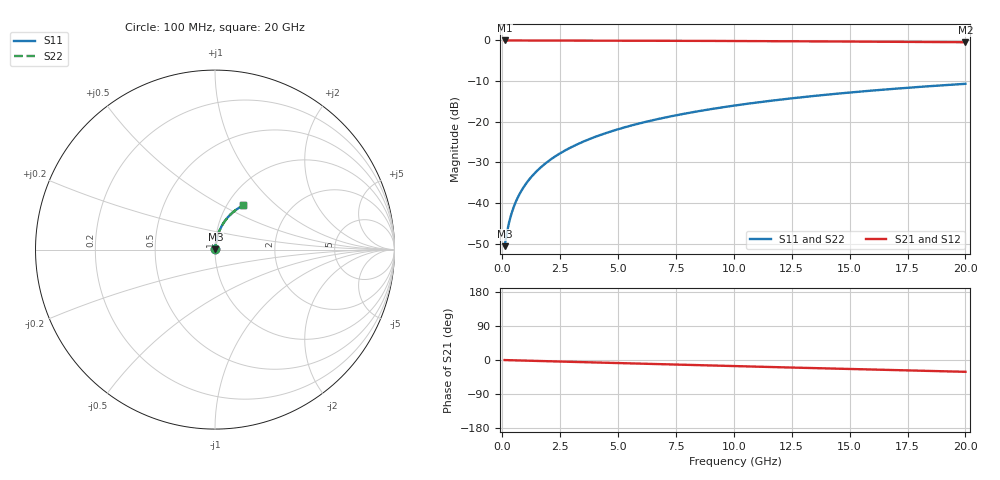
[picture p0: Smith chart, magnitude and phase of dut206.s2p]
! Touchstone file exported from HFSS 2026.1.0
!  File:  C:/ffzhzh/LocalFiles/Ansys_Project_Files/temp_train_BSMRDL_206_1782987802_41620.aedt
!  Generated:  06:24:42 PM Jul  2, 2026
!  Design:  BSMRDL
!  Project:  temp_train_BSMRDL_206_1782987802_41620
! Variables:
!  h_bsmrdl = 2.56um
!  h_ox = 20um
!  h_rdl = 5um
!  h_sub = 80um
!  h_tmrdl = 5um
!  h_tsv = 80um
!  h_via = 3um
!  l_bsmrdl = 419.9um
!  l_sub = 819.9um
!  l_tmrdl = 200um
!  m_sub = 200um
!  pitch = 57.57um
!  r_tsv = 6um
!  s_tmrdl = 10um
!  w_bsmrdl = 29.53um
!  w_sub = 500um
!  w_tmrdl = 12um
!  x_tsv_center1 = 206um
!  x_tsv_center2 = 655.43um
!  x_tsv_center3 = 867.43um
!  x_tsv_center4 = 1316.86um
!  x_tsv_center5 = 1528.86um
!  x_tsv_center6 = 1978.29um
# GHz S MA R 50.000000
! Terminal data exported
! Port[1] = BSM_RDL1_1_T1
! Port[2] = BSM_RDL1_1_T2
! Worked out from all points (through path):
!   200 points, 100 MHz to 20 GHz, reference 50 ohm
!   highest |S21| = -0.02 dB at 100 MHz (marker M1); lowest = -0.5 dB at 20 GHz (marker M2)
!   group delay of S21, straight-line fit = 4.33 ps
!   lowest |S11| = -50.6 dB at 100 MHz (marker M3), VSWR 1.01, Z = 50.2 + j0.182 ohm
!   |S11| at or under -10 dB: start of sweep to end of sweep
!   |S22| runs from -50.6 to -10.7 dB; largest |S21 - S12| = 2.7e-15
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0.1  0.002941 37.9  0.9977 -0.2  0.9977 -0.2  0.002941 37.9
! Gamma 0 0 0 0
! Port Impedance 50 0 50 0
0.2  0.004324 55.7  0.9976 -0.3  0.9976 -0.3  0.004324 55.7
0.3  0.005877 63.8  0.9974 -0.5  0.9974 -0.5  0.005877 63.8
0.4  0.007454 68.4  0.9973 -0.7  0.9973 -0.7  0.007454 68.4
0.5  0.009026 71.3  0.9972 -0.8  0.9972 -0.8  0.009026 71.3
0.6  0.01059 73.4  0.9971 -1.0  0.9971 -1.0  0.01059 73.4
0.8  0.01373 76.1  0.9969 -1.3  0.9969 -1.3  0.01373 76.1
1.1  0.01846 78.6  0.9968 -1.8  0.9968 -1.8  0.01846 78.6
1.3  0.02164 79.5  0.9966 -2.1  0.9966 -2.1  0.02164 79.5
1.6  0.02642 80.4  0.9965 -2.6  0.9965 -2.6  0.02642 80.4
2.1  0.03442 81.1  0.9961 -3.4  0.9961 -3.4  0.03442 81.1
2.7  0.04404 81.2  0.9957 -4.4  0.9957 -4.4  0.04404 81.2
3.5  0.05685 80.8  0.9949 -5.7  0.9949 -5.7  0.05685 80.8
4.2  0.06801 80.1  0.994 -6.8  0.994 -6.8  0.06801 80.1
5  0.0807 79.2  0.9929 -8.1  0.9929 -8.1  0.0807 79.2
5.9  0.09486 78.0  0.9914 -9.6  0.9914 -9.6  0.09486 78.0
6.8  0.1089 76.7  0.9898 -11.0  0.9898 -11.0  0.1089 76.7
8.3  0.1319 74.6  0.9865 -13.4  0.9865 -13.4  0.1319 74.6
10.1  0.1589 71.9  0.9821 -16.2  0.9821 -16.2  0.1589 71.9
13.4  0.2063 67.0  0.9724 -21.3  0.9724 -21.3  0.2063 67.0
16.7  0.2508 62.2  0.9612 -26.3  0.9612 -26.3  0.2508 62.1
20  0.2922 57.4  0.9489 -31.1  0.9489 -31.1  0.2922 57.4
